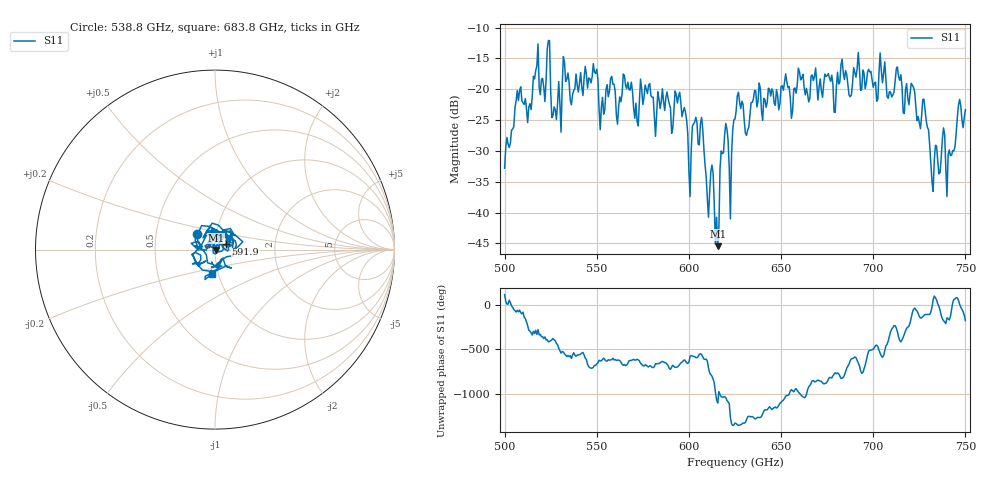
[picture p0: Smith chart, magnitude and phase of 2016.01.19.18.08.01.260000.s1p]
!Created with skrf (http://scikit-rf.org).
# GHz S RI R 50.0
!freq ReS11 ImS11
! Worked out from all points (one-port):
!   401 points, 500 GHz to 750 GHz, reference 50 ohm
!   lowest |S11| = -45.4 dB at 615.6 GHz (marker M1), VSWR 1.01, Z = 50.5 - j0.246 ohm
!   |S11| at or under -10 dB: start of sweep to end of sweep
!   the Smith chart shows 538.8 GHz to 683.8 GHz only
!   S11 on the Smith chart (normalised r, x): 538.8 GHz: 0.81, +0.14; 591.9 GHz: 1.13, +0.07; 683.8 GHz: 0.94, -0.26
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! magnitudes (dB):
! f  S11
! 500 GHz  -32.8
! 516.9 GHz  -17.0
! 520.6 GHz  -18.2
! 523.8 GHz  -12.1
! 526.9 GHz  -22.9
! 531.2 GHz  -19.5
! 538.8 GHz  -17.5
! 562.5 GHz  -21.2
! 565.6 GHz  -19.4
! 571.2 GHz  -22.3
! 577.5 GHz  -20.7
! 591.9 GHz  -23.3
! 593.8 GHz  -22.2
! 600 GHz  -33.4
! 606.9 GHz  -24.6
! 610 GHz  -37.8
! 615.6 GHz  -45.4
! 618.8 GHz  -30.3
! 622.5 GHz  -41.0
! 625 GHz  -24.8
! 656.2 GHz  -23.5
! 683.8 GHz  -17.4
! 687.5 GHz  -21.2
! 705 GHz  -19.0
! 718.8 GHz  -21.5
! 728.1 GHz  -23.4
! 731.9 GHz  -34.9
! 750 GHz  -23.3
